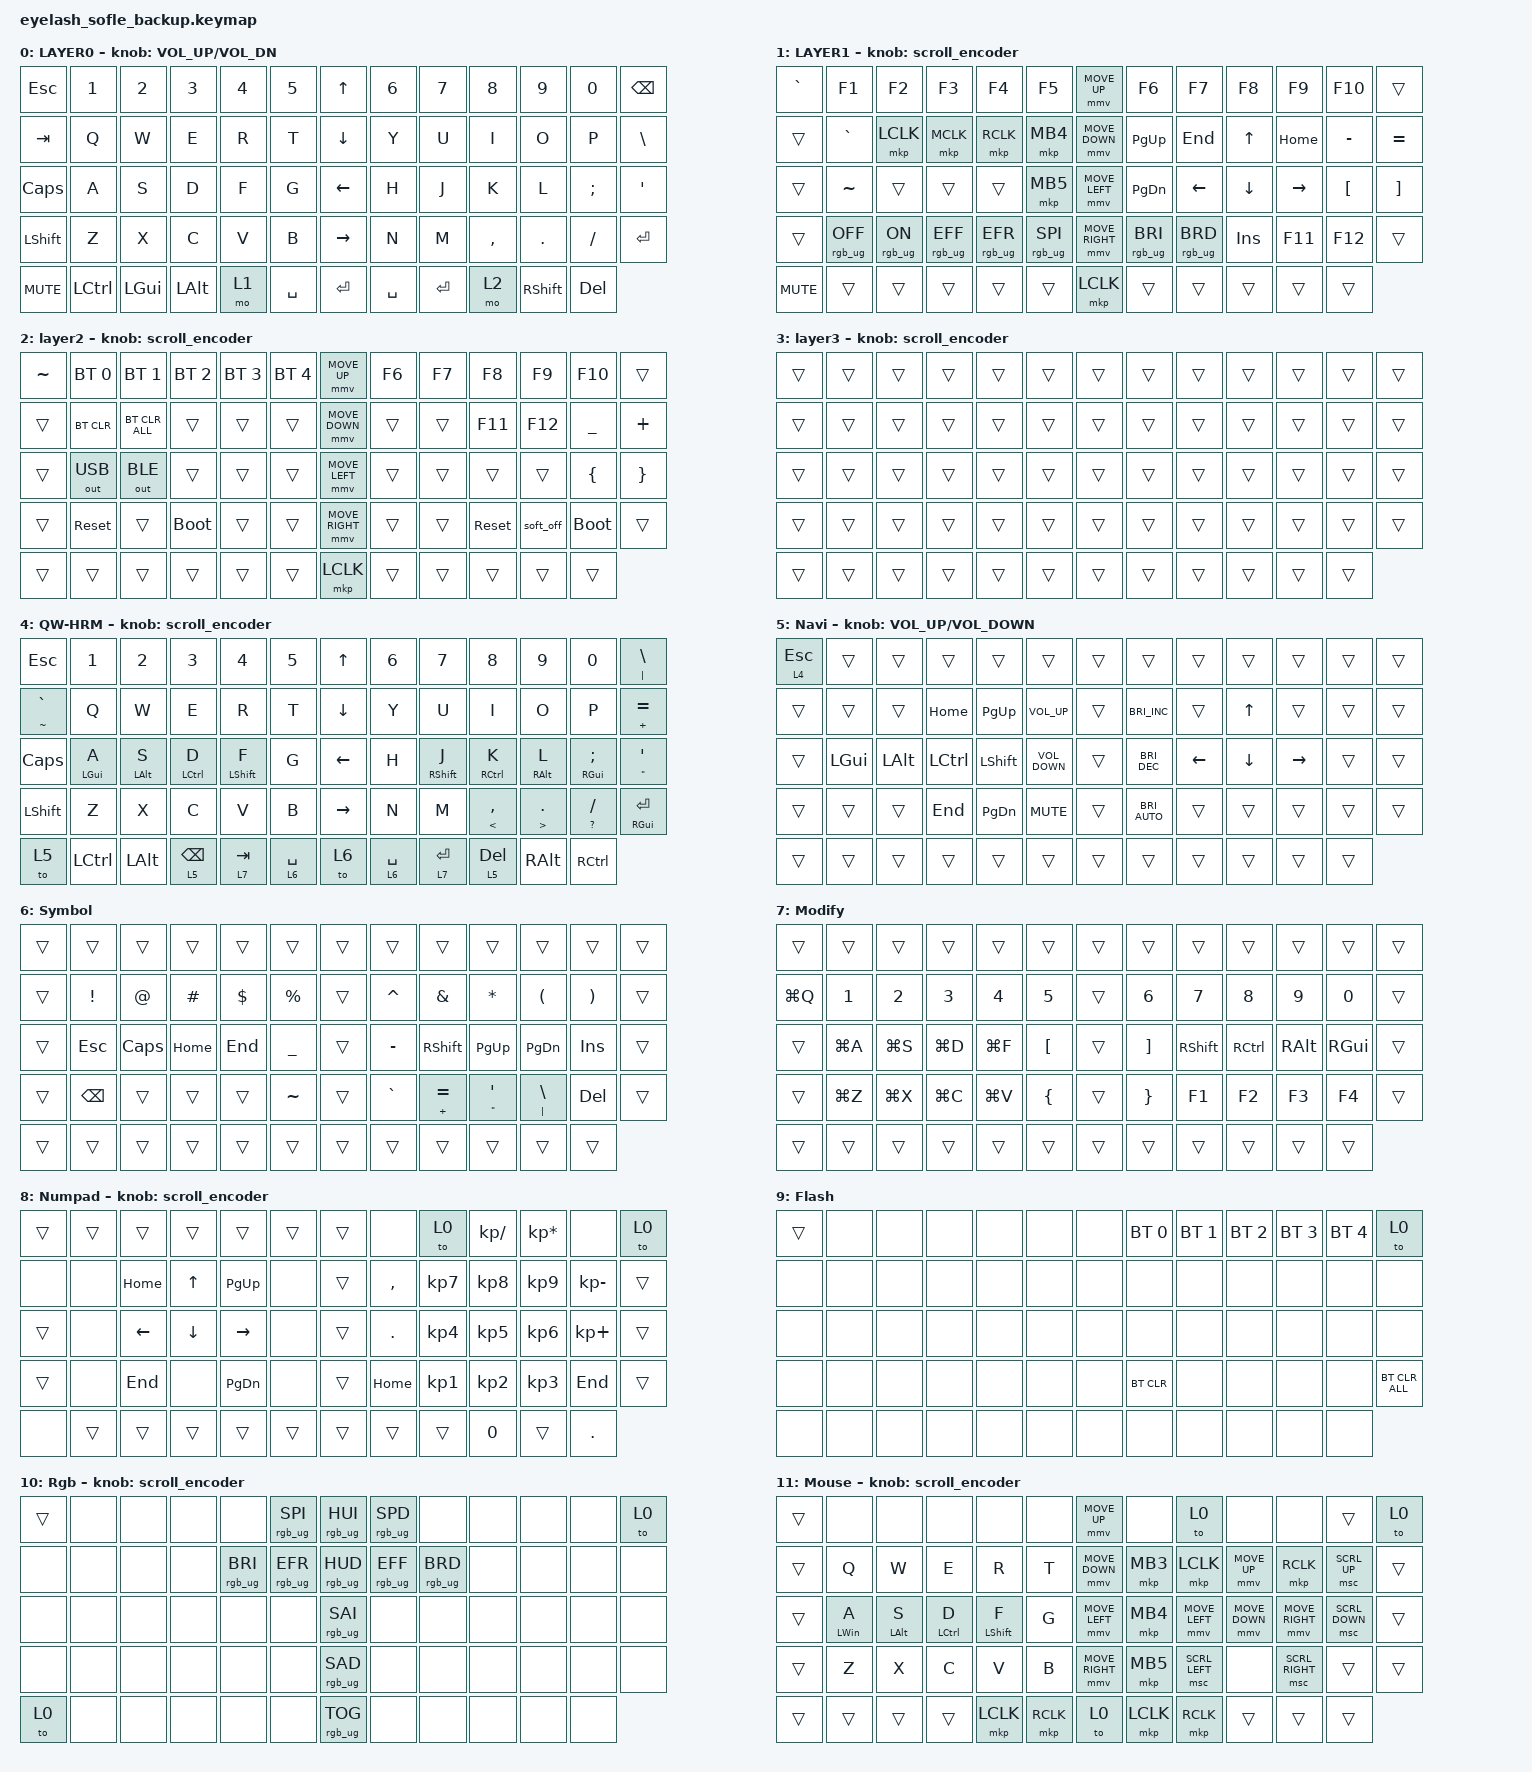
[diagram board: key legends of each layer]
#define ZMK_POINTING_DEFAULT_MOVE_VAL 1200  // 600
#define ZMK_POINTING_DEFAULT_SCRL_VAL 25   // 10

#include <input/processors.dtsi>
#include <zephyr/dt-bindings/input/input-event-codes.h>
#include <behaviors.dtsi>
#include <dt-bindings/zmk/bt.h>
#include <dt-bindings/zmk/keys.h>
#include <dt-bindings/zmk/outputs.h>
#include <dt-bindings/zmk/pointing.h>
#include <dt-bindings/zmk/rgb.h>

&mmv_input_listener { input-processors = <&zip_xy_scaler 2 1>; };

&msc_input_listener { input-processors = <&zip_scroll_scaler 2 1>; };

&msc {
    acceleration-exponent = <1>;      // 0
    time-to-max-speed-ms = <100>;       // 300
    delay-ms = <0>;                   // 0
};

&mmv {
    time-to-max-speed-ms = <500>;
    acceleration-exponent = <1>;
    trigger-period-ms = <16>;
};

&soft_off { hold-time-ms = <2000>; };

/ {
    behaviors {
        scroll_encoder: scroll_encoder {
            compatible = "zmk,behavior-sensor-rotate";
            #sensor-binding-cells = <0>;
            bindings = <&msc SCRL_DOWN>, <&msc SCRL_UP>;

            tap-ms = <100>;
        };

        hm: homerow_mods {
            compatible = "zmk,behavior-hold-tap";
            label = "HOMEROW_MODS";
            bindings = <&kp>, <&kp>;

            #binding-cells = <2>;
            tapping-term-ms = <200>;
            quick-tap-ms = <180>;
            flavor = "tap-preferred";
        };

        ltq: ltq {
            compatible = "zmk,behavior-hold-tap";
            label = "LTQ";
            bindings = <&mo>, <&kp>;

            #binding-cells = <2>;
            tapping-term-ms = <200>;
            quick-tap-ms = <180>;
        };

        as: auto_shift {
            compatible = "zmk,behavior-hold-tap";
            label = "AUTO_SHIFT";
            bindings = <&kp>, <&kp>;

            #binding-cells = <2>;
            tapping-term-ms = <135>;
            quick-tap-ms = <0>;
        };

        qwerty: set_qwerty {
            compatible = "zmk,behavior-hold-tap";
            label = "SET_QWERTY";
            bindings = <&to>, <&kp>;

            #binding-cells = <2>;
            tapping-term-ms = <200>;
            require-prior-idle-ms = <180>;
            flavor = "tap-preferred";
        };
    };

    combos {
        compatible = "zmk,combos";

        softoff {
            bindings = <&soft_off>;
            key-positions = <14 28 40>;
        };

        compatible = "zmk,combos";

        esc {
            bindings = <&kp ESCAPE>;
            key-positions = <13 14>;
        };

        left_bkt {
            bindings = <&kp LEFT_BRACKET>;
            key-positions = <17 16>;
        };

        right_bkt {
            bindings = <&kp RIGHT_BRACKET>;
            key-positions = <21 22>;
        };

        left_par {
            bindings = <&kp LEFT_PARENTHESIS>;
            key-positions = <29 30>;
        };

        right_par {
            bindings = <&kp RIGHT_PARENTHESIS>;
            key-positions = <34 35>;
        };

        left_brace {
            bindings = <&kp LEFT_BRACE>;
            key-positions = <42 43>;
        };

        right_brace {
            bindings = <&kp RIGHT_BRACE>;
            key-positions = <47 48>;
        };

        bac {
            bindings = <&kp BACKSLASH>;
            key-positions = <18 20>;
        };

        pipe {
            bindings = <&kp PIPE>;
            key-positions = <31 33>;
        };

        toggle_symbol {
            bindings = <&tog 6>;
            key-positions = <57 59>;
        };

        toggle_navi {
            bindings = <&tog 5>;
            key-positions = <55 61>;
        };

        toggle_modify {
            bindings = <&tog 7>;
            key-positions = <56 60>;
        };

        toggle_Numpad {
            bindings = <&tog 8>;
            key-positions = <46 47>;
        };

        qwerty {
            bindings = <&to 0>;
            key-positions = <53 63>;    // hit QWER together to set HRM as default (layer 0)
        };

        qwerty_to_hrm {
            bindings = <&to 4>;
            key-positions = <54 62>;    // hit WERT together to reset QWERTY as default (layer 4)
        };
    };

    keymap {
        compatible = "zmk,keymap";

        layer0 {
            bindings = <
&kp ESC     &kp N1     &kp N2        &kp N3        &kp N4  &kp N5       &kp UP_ARROW     &kp N6     &kp N7     &kp N8     &kp N9           &kp N0      &kp BACKSPACE
&kp TAB     &kp Q      &kp W         &kp E         &kp R   &kp T        &kp DOWN_ARROW   &kp Y      &kp U      &kp I      &kp O            &kp P       &kp BSLH
&kp CAPS    &kp A      &kp S         &kp D         &kp F   &kp G        &kp LEFT_ARROW   &kp H      &kp J      &kp K      &kp L            &kp SEMI    &kp APOS
&kp LSHFT   &kp Z      &kp X         &kp C         &kp V   &kp B        &kp RIGHT_ARROW  &kp N      &kp M      &kp COMMA  &kp DOT          &kp FSLH    &kp ENTER
&kp C_MUTE  &kp LCTRL  &kp LEFT_GUI  &kp LEFT_ALT  &mo 1   &kp SPACE    &kp ENTER        &kp SPACE  &kp ENTER  &mo 2      &kp RIGHT_SHIFT  &kp DELETE
            >;

            sensor-bindings = <&inc_dec_kp C_VOLUME_UP C_VOL_DN>;
            display-name = "LAYER0";
        };

        layer_1 {
            bindings = <
&kp GRAVE   &kp F1           &kp F2          &kp F3           &kp F4           &kp F5             &mmv MOVE_UP     &kp F6           &kp F7           &kp F8      &kp F9     &kp F10           &trans
&trans      &kp GRAVE        &mkp LCLK       &mkp MCLK        &mkp RCLK        &mkp MB4           &mmv MOVE_DOWN   &kp PG_UP        &kp END          &kp UP      &kp HOME   &kp MINUS         &kp EQUAL
&trans      &kp TILDE        &trans          &trans           &trans           &mkp MB5           &mmv MOVE_LEFT   &kp PG_DN        &kp LEFT         &kp DOWN    &kp RIGHT  &kp LEFT_BRACKET  &kp RIGHT_BRACKET
&trans      &rgb_ug RGB_OFF  &rgb_ug RGB_ON  &rgb_ug RGB_EFF  &rgb_ug RGB_EFR  &rgb_ug RGB_SPI    &mmv MOVE_RIGHT  &rgb_ug RGB_BRI  &rgb_ug RGB_BRD  &kp INSERT  &kp F11    &kp F12           &trans
&kp C_MUTE  &trans           &trans          &trans           &trans           &trans             &mkp LCLK        &trans           &trans           &trans      &trans     &trans
            >;

            display-name = "LAYER1";
            sensor-bindings = <&scroll_encoder>;
        };

        layer_2 {
            bindings = <
&kp TILDE  &bt BT_SEL 0  &bt BT_SEL 1    &bt BT_SEL 2  &bt BT_SEL 3  &bt BT_SEL 4    &mmv MOVE_UP     &kp F6  &kp F7  &kp F8      &kp F9     &kp F10      &trans
&trans     &bt BT_CLR    &bt BT_CLR_ALL  &trans        &trans        &trans          &mmv MOVE_DOWN   &trans  &trans  &kp F11     &kp F12    &kp UNDER    &kp PLUS
&trans     &out OUT_USB  &out OUT_BLE    &trans        &trans        &trans          &mmv MOVE_LEFT   &trans  &trans  &trans      &trans     &kp LBRC     &kp RBRC
&trans     &sys_reset    &trans          &bootloader   &trans        &trans          &mmv MOVE_RIGHT  &trans  &trans  &sys_reset  &soft_off  &bootloader  &trans
&trans     &trans        &trans          &trans        &trans        &trans          &mkp LCLK        &trans  &trans  &trans      &trans     &trans
            >;

            display-name = "layer2";
            sensor-bindings = <&scroll_encoder>;
        };

        layer_3 {
            bindings = <
&trans  &trans  &trans  &trans  &trans  &trans    &trans  &trans  &trans  &trans  &trans  &trans  &trans
&trans  &trans  &trans  &trans  &trans  &trans    &trans  &trans  &trans  &trans  &trans  &trans  &trans
&trans  &trans  &trans  &trans  &trans  &trans    &trans  &trans  &trans  &trans  &trans  &trans  &trans
&trans  &trans  &trans  &trans  &trans  &trans    &trans  &trans  &trans  &trans  &trans  &trans  &trans
&trans  &trans  &trans  &trans  &trans  &trans    &trans  &trans  &trans  &trans  &trans  &trans
            >;

            display-name = "layer3";
            sensor-bindings = <&scroll_encoder>;
        };

        QW-HRM {
            bindings = <
&kp ESCAPE       &kp N1          &kp N2          &kp N3              &kp N4            &kp N5          &kp UP_ARROW     &kp N6        &kp N7             &kp N8               &kp N9                   &kp N0                   &as PIPE BACKSLASH
&as TILDE GRAVE  &kp Q           &kp W           &kp E               &kp R             &kp T           &kp DOWN_ARROW   &kp Y         &kp U              &kp I                &kp O                    &kp P                    &as PLUS EQUAL
&kp CAPSLOCK     &hm LEFT_GUI A  &hm LEFT_ALT S  &hm LEFT_CONTROL D  &hm LEFT_SHIFT F  &kp G           &kp LEFT_ARROW   &kp H         &hm RIGHT_SHIFT J  &hm RIGHT_CONTROL K  &hm RIGHT_ALT L          &hm RIGHT_GUI SEMICOLON  &as DOUBLE_QUOTES SQT
&kp LSHFT        &kp Z           &kp X           &kp C               &kp V             &kp B           &kp RIGHT_ARROW  &kp N         &kp M              &as LESS_THAN COMMA  &as GREATER_THAN PERIOD  &as QUESTION SLASH       &hm RIGHT_GUI ENTER
&to 5            &kp LCTRL       &kp LALT        &ltq 5 BACKSPACE    &ltq 7 TAB        &ltq 6 SPACE    &to 6            &ltq 6 SPACE  &ltq 7 ENTER       &ltq 5 DELETE        &kp RALT                 &kp RCTRL
            >;

            sensor-bindings = <&scroll_encoder>;
            display-name = "QW-HRM";
        };

        Navi {
            bindings = <
&qwerty 4 ESC  &trans        &trans        &trans            &trans          &trans               &trans  &trans                 &trans          &trans          &trans           &trans  &trans
&trans         &trans        &trans        &kp HOME          &kp PAGE_UP     &kp C_VOLUME_UP      &trans  &kp C_BRIGHTNESS_INC   &trans          &kp UP_ARROW    &trans           &trans  &trans
&trans         &kp LEFT_GUI  &kp LEFT_ALT  &kp LEFT_CONTROL  &kp LEFT_SHIFT  &kp C_VOLUME_DOWN    &trans  &kp C_BRIGHTNESS_DEC   &kp LEFT_ARROW  &kp DOWN_ARROW  &kp RIGHT_ARROW  &trans  &trans
&trans         &trans        &trans        &kp END           &kp PAGE_DOWN   &kp K_MUTE           &trans  &kp C_BRIGHTNESS_AUTO  &trans          &trans          &trans           &trans  &trans
&trans         &trans        &trans        &trans            &trans          &trans               &trans  &trans                 &trans          &trans          &trans           &trans
            >;

            display-name = "Navi";
            sensor-bindings = <&inc_dec_kp C_VOLUME_UP C_VOLUME_DOWN>;
        };

        Symbol {
            bindings = <
&trans  &trans           &trans        &trans    &trans      &trans            &trans  &trans     &trans           &trans                          &trans                &trans                 &trans
&trans  &kp EXCLAMATION  &kp AT_SIGN   &kp HASH  &kp DOLLAR  &kp PERCENT       &trans  &kp CARET  &kp AMPERSAND    &kp ASTERISK                    &kp LEFT_PARENTHESIS  &kp RIGHT_PARENTHESIS  &trans
&trans  &kp ESCAPE       &kp CAPSLOCK  &kp HOME  &kp END     &kp UNDERSCORE    &trans  &kp MINUS  &kp RIGHT_SHIFT  &kp PAGE_UP                     &kp PAGE_DOWN         &kp INSERT             &trans
&trans  &kp BACKSPACE    &trans        &trans    &trans      &kp TILDE         &trans  &kp GRAVE  &as PLUS EQUAL   &as DOUBLE_QUOTES SINGLE_QUOTE  &as PIPE BACKSLASH    &kp DELETE             &trans
&trans  &trans           &trans        &trans    &trans      &trans            &trans  &trans     &trans           &trans                          &trans                &trans
            >;

            display-name = "Symbol";
        };

        Modify {
            bindings = <
&trans     &trans        &trans        &trans     &trans     &trans            &trans  &trans           &trans           &trans             &trans         &trans         &trans
&kp LG(Q)  &kp NUMBER_1  &kp NUMBER_2  &kp N3     &kp N4     &kp N5            &trans  &kp N6           &kp N7           &kp N8             &kp N9         &kp N0         &trans
&trans     &kp LG(A)     &kp LG(S)     &kp LG(D)  &kp LG(F)  &kp LBKT          &trans  &kp RBKT         &kp RIGHT_SHIFT  &kp RIGHT_CONTROL  &kp RIGHT_ALT  &kp RIGHT_GUI  &trans
&trans     &kp LG(Z)     &kp LG(X)     &kp LG(C)  &kp LG(V)  &kp LEFT_BRACE    &trans  &kp RIGHT_BRACE  &kp F1           &kp F2             &kp F3         &kp F4         &trans
&trans     &trans        &trans        &trans     &trans     &trans            &trans  &trans           &trans           &trans             &trans         &trans
            >;

            display-name = "Modify";
        };

        Numpad {
            bindings = <
&trans  &trans  &trans    &trans        &trans         &trans    &trans  &none       &to 0            &kp KP_SLASH     &kp KP_ASTERISK  &none            &to 0
&none   &none   &kp HOME  &kp UP_ARROW  &kp PG_UP      &none     &trans  &kp COMMA   &kp KP_NUMBER_7  &kp KP_NUMBER_8  &kp KP_NUMBER_9  &kp KP_SUBTRACT  &trans
&trans  &none   &kp LEFT  &kp DOWN      &kp RIGHT      &none     &trans  &kp PERIOD  &kp KP_NUMBER_4  &kp KP_NUMBER_5  &kp KP_NUMBER_6  &kp KP_PLUS      &trans
&trans  &none   &kp END   &none         &kp PAGE_DOWN  &none     &trans  &kp HOME    &kp KP_N1        &kp KP_NUMBER_2  &kp KP_NUMBER_3  &kp END          &trans
&none   &trans  &trans    &trans        &trans         &trans    &trans  &trans      &trans           &kp N0           &trans           &kp DOT
            >;

            display-name = "Numpad";
            sensor-bindings = <&scroll_encoder>;
        };

        Flash {
            bindings = <
&trans  &none  &none  &none  &none  &none    &none  &bt BT_SEL 0  &bt BT_SEL 1  &bt BT_SEL 2  &bt BT_SEL 3  &bt BT_SEL 4  &to 0
&none   &none  &none  &none  &none  &none    &none  &none         &none         &none         &none         &none         &none
&none   &none  &none  &none  &none  &none    &none  &none         &none         &none         &none         &none         &none
&none   &none  &none  &none  &none  &none    &none  &bt BT_CLR    &none         &none         &none         &none         &bt BT_CLR_ALL
&none   &none  &none  &none  &none  &none    &none  &none         &none         &none         &none         &none
            >;

            display-name = "Flash";
        };

        Rgb {
            bindings = <
&trans  &none  &none  &none  &none            &rgb_ug RGB_SPI    &rgb_ug RGB_HUI  &rgb_ug RGB_SPD  &none            &none  &none  &none  &to 0
&none   &none  &none  &none  &rgb_ug RGB_BRI  &rgb_ug RGB_EFR    &rgb_ug RGB_HUD  &rgb_ug RGB_EFF  &rgb_ug RGB_BRD  &none  &none  &none  &none
&none   &none  &none  &none  &none            &none              &rgb_ug RGB_SAI  &none            &none            &none  &none  &none  &none
&none   &none  &none  &none  &none            &none              &rgb_ug RGB_SAD  &none            &none            &none  &none  &none  &none
&to 0   &none  &none  &none  &none            &none              &rgb_ug RGB_TOG  &none            &none            &none  &none  &none
            >;

            display-name = "Rgb";
            sensor-bindings = <&scroll_encoder>;
        };

        Mouse {
            bindings = <
&trans  &none       &none       &none        &none        &none        &mmv MOVE_UP     &none      &to 0           &none           &none            &trans          &to 0
&trans  &kp Q       &kp W       &kp E        &kp R        &kp T        &mmv MOVE_DOWN   &mkp MB3   &mkp LCLK       &mmv MOVE_UP    &mkp RCLK        &msc SCRL_UP    &trans
&trans  &hm LWIN A  &hm LALT S  &hm LCTRL D  &hm LSHFT F  &kp G        &mmv MOVE_LEFT   &mkp MB4   &mmv MOVE_LEFT  &mmv MOVE_DOWN  &mmv MOVE_RIGHT  &msc SCRL_DOWN  &trans
&trans  &kp Z       &kp X       &kp C        &kp V        &kp B        &mmv MOVE_RIGHT  &mkp MB5   &msc SCRL_LEFT  &none           &msc SCRL_RIGHT  &trans          &trans
&trans  &trans      &trans      &trans       &mkp LCLK    &mkp RCLK    &to 0            &mkp LCLK  &mkp RCLK       &trans          &trans           &trans
            >;

            display-name = "Mouse";
            sensor-bindings = <&scroll_encoder>;
        };
    };

    conditional_layers {
        compatible = "zmk,conditional-layers";

        Flash {
            if-layers = <2 3>;
            then-layer = <4>;
        };
    };
};
